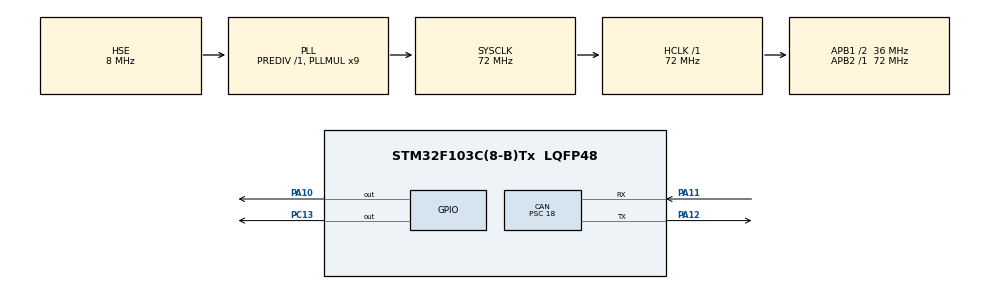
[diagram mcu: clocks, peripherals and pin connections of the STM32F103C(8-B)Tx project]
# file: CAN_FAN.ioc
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CAN.BS1=CAN_BS1_2TQ
CAN.CalculateBaudRate=500000
CAN.CalculateTimeBit=2000
CAN.CalculateTimeQuantum=500.0
CAN.Prescaler=18
Mcu.Family=STM32F1
Mcu.Name=STM32F103C(8-B)Tx
Mcu.Package=LQFP48
NVIC.CAN1_RX1_IRQn=true\:0\:0\:false\:false\:true\:true\:true\:true
NVIC.PriorityGroup=NVIC_PRIORITYGROUP_4
PA10.Signal=GPIO_Output
PA11.Mode=CAN_Activate
PA11.Signal=CAN_RX
PA12.Mode=CAN_Activate
PA12.Signal=CAN_TX
PA13.Mode=Serial_Wire
PA13.Signal=SYS_JTMS-SWDIO
PA14.Mode=Serial_Wire
PA14.Signal=SYS_JTCK-SWCLK
PC13-TAMPER-RTC.Signal=GPIO_Output
PD0-OSC_IN.Mode=HSE-External-Oscillator
PD0-OSC_IN.Signal=RCC_OSC_IN
PD1-OSC_OUT.Mode=HSE-External-Oscillator
PD1-OSC_OUT.Signal=RCC_OSC_OUT
ProjectManager.HeapSize=0x200
ProjectManager.StackSize=0x400
ProjectManager.TargetToolchain=MDK-ARM V5.32
RCC.AHBFreq_Value=72000000
RCC.APB1CLKDivider=RCC_HCLK_DIV2
RCC.APB1Freq_Value=36000000
RCC.APB1TimFreq_Value=72000000
RCC.APB2Freq_Value=72000000
RCC.APB2TimFreq_Value=72000000
RCC.HCLKFreq_Value=72000000
RCC.PLLMUL=RCC_PLL_MUL9
RCC.PLLSourceVirtual=RCC_PLLSOURCE_HSE
RCC.SYSCLKFreq_VALUE=72000000
RCC.SYSCLKSource=RCC_SYSCLKSOURCE_PLLCLK
RCC.USBFreq_Value=72000000
board=custom

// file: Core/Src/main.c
/* USER CODE BEGIN Header */
/**
  ******************************************************************************
  * @file           : main.c
  * @brief          : Main program body
  ******************************************************************************
  * @attention
  *
  * Copyright (c) 2023 STMicroelectronics.
  * All rights reserved.
  *
  * This software is licensed under terms that can be found in the LICENSE file
  * in the root directory of this software component.
  * If no LICENSE file comes with this software, it is provided AS-IS.
  *
  ******************************************************************************
  */
/* USER CODE END Header */
#include "main.h"

CAN_HandleTypeDef hcan;

void SystemClock_Config(void);
static void MX_GPIO_Init(void);
static void MX_CAN_Init(void);

/* USER CODE BEGIN 0 */
CAN_TxHeaderTypeDef TxHeader;
CAN_RxHeaderTypeDef RxHeader;

uint8_t TxData[8];
uint8_t RxData[8];

uint32_t TxMailbox;

int datacheck = 0;
int value_co2;
int limit_co2;

void HAL_CAN_RxFifo1MsgPendingCallback(CAN_HandleTypeDef *hcan)
{
	HAL_CAN_GetRxMessage(hcan, CAN_RX_FIFO1, &RxHeader, RxData);
	if (RxHeader.DLC == 4)
	{
		datacheck = 1;
	}
}
/* USER CODE END 0 */

int main(void)
{

  /* MCU Configuration--------------------------------------------------------*/

  /* Reset of all peripherals, Initializes the Flash interface and the Systick. */
  HAL_Init();

  /* Configure the system clock */
  SystemClock_Config();

  /* Initialize all configured peripherals */
  MX_GPIO_Init();
  MX_CAN_Init();
  /* USER CODE BEGIN 2 */
  HAL_CAN_Start(&hcan);
	  // Activate the notification
  HAL_CAN_ActivateNotification(&hcan, CAN_IT_RX_FIFO1_MSG_PENDING);

	TxHeader.DLC = 1;  // data length
  TxHeader.IDE = CAN_ID_STD;
  TxHeader.RTR = CAN_RTR_DATA;
  TxHeader.StdId = 0x104;  // ID

  TxData[0] = 0;  // ms delay
  /* USER CODE END 2 */

  /* Infinite loop */
  while (1)
  {

    /* USER CODE BEGIN 3 */
		HAL_GPIO_TogglePin(GPIOC, GPIO_PIN_13);
		HAL_Delay(500);
		if (datacheck)
	  {
		  // blink the LED
			datacheck = 0;
			value_co2 = RxData[0] << 8 | RxData[1];
			limit_co2 = RxData[2] << 8 | RxData[3];
			if(value_co2>limit_co2){
				HAL_GPIO_WritePin(GPIOA,GPIO_PIN_10, GPIO_PIN_SET);
				  TxData[0] = 1;
			}
			else{
				HAL_GPIO_WritePin(GPIOA,GPIO_PIN_10, GPIO_PIN_RESET);
				  TxData[0] = 0;
			}
		  HAL_CAN_AddTxMessage(&hcan, &TxHeader, TxData, &TxMailbox);

			HAL_GPIO_TogglePin(GPIOC, GPIO_PIN_13);
			HAL_Delay(200);
			HAL_GPIO_TogglePin(GPIOC, GPIO_PIN_13);
			HAL_Delay(200);
			HAL_GPIO_TogglePin(GPIOC, GPIO_PIN_13);
			HAL_Delay(200);

	  }

  }
  /* USER CODE END 3 */
}

void SystemClock_Config(void)
{
  RCC_OscInitTypeDef RCC_OscInitStruct = {0};
  RCC_ClkInitTypeDef RCC_ClkInitStruct = {0};

  /** Initializes the RCC Oscillators according to the specified parameters
  * in the RCC_OscInitTypeDef structure.
  */
  RCC_OscInitStruct.OscillatorType = RCC_OSCILLATORTYPE_HSE;
  RCC_OscInitStruct.HSEState = RCC_HSE_ON;
  RCC_OscInitStruct.HSEPredivValue = RCC_HSE_PREDIV_DIV1;
  RCC_OscInitStruct.HSIState = RCC_HSI_ON;
  RCC_OscInitStruct.PLL.PLLState = RCC_PLL_ON;
  RCC_OscInitStruct.PLL.PLLSource = RCC_PLLSOURCE_HSE;
  RCC_OscInitStruct.PLL.PLLMUL = RCC_PLL_MUL9;
  if (HAL_RCC_OscConfig(&RCC_OscInitStruct) != HAL_OK)
  {
    Error_Handler();
  }

  /** Initializes the CPU, AHB and APB buses clocks
  */
  RCC_ClkInitStruct.ClockType = RCC_CLOCKTYPE_HCLK|RCC_CLOCKTYPE_SYSCLK
                              |RCC_CLOCKTYPE_PCLK1|RCC_CLOCKTYPE_PCLK2;
  RCC_ClkInitStruct.SYSCLKSource = RCC_SYSCLKSOURCE_PLLCLK;
  RCC_ClkInitStruct.AHBCLKDivider = RCC_SYSCLK_DIV1;
  RCC_ClkInitStruct.APB1CLKDivider = RCC_HCLK_DIV2;
  RCC_ClkInitStruct.APB2CLKDivider = RCC_HCLK_DIV1;

  if (HAL_RCC_ClockConfig(&RCC_ClkInitStruct, FLASH_LATENCY_2) != HAL_OK)
  {
    Error_Handler();
  }
}

static void MX_CAN_Init(void)
{

  hcan.Instance = CAN1;
  hcan.Init.Prescaler = 18;
  hcan.Init.Mode = CAN_MODE_NORMAL;
  hcan.Init.SyncJumpWidth = CAN_SJW_1TQ;
  hcan.Init.TimeSeg1 = CAN_BS1_2TQ;
  hcan.Init.TimeSeg2 = CAN_BS2_1TQ;
  hcan.Init.TimeTriggeredMode = DISABLE;
  hcan.Init.AutoBusOff = DISABLE;
  hcan.Init.AutoWakeUp = DISABLE;
  hcan.Init.AutoRetransmission = DISABLE;
  hcan.Init.ReceiveFifoLocked = DISABLE;
  hcan.Init.TransmitFifoPriority = DISABLE;
  if (HAL_CAN_Init(&hcan) != HAL_OK)
  {
    Error_Handler();
  }
  /* USER CODE BEGIN CAN_Init 2 */
  CAN_FilterTypeDef canfilterconfig;

  canfilterconfig.FilterActivation = CAN_FILTER_ENABLE;
  canfilterconfig.FilterBank = 10;  // which filter bank to use from the assigned ones
  canfilterconfig.FilterFIFOAssignment = CAN_FILTER_FIFO1;
  canfilterconfig.FilterIdHigh = 0;
  canfilterconfig.FilterIdLow = 0;
  canfilterconfig.FilterMaskIdHigh = 0;
  canfilterconfig.FilterMaskIdLow = 0x0000;
  canfilterconfig.FilterMode = CAN_FILTERMODE_IDMASK;
  canfilterconfig.FilterScale = CAN_FILTERSCALE_32BIT;
  canfilterconfig.SlaveStartFilterBank = 0;  // doesn't matter in single can controllers

  HAL_CAN_ConfigFilter(&hcan, &canfilterconfig);
  /* USER CODE END CAN_Init 2 */

}

static void MX_GPIO_Init(void)
{
  GPIO_InitTypeDef GPIO_InitStruct = {0};

  /* GPIO Ports Clock Enable */
  __HAL_RCC_GPIOC_CLK_ENABLE();
  __HAL_RCC_GPIOD_CLK_ENABLE();
  __HAL_RCC_GPIOA_CLK_ENABLE();

  /*Configure GPIO pin Output Level */
  HAL_GPIO_WritePin(GPIOC, GPIO_PIN_13, GPIO_PIN_RESET);

  /*Configure GPIO pin Output Level */
  HAL_GPIO_WritePin(GPIOA, GPIO_PIN_10, GPIO_PIN_RESET);

  /*Configure GPIO pin : PC13 */
  GPIO_InitStruct.Pin = GPIO_PIN_13;
  GPIO_InitStruct.Mode = GPIO_MODE_OUTPUT_PP;
  GPIO_InitStruct.Pull = GPIO_NOPULL;
  GPIO_InitStruct.Speed = GPIO_SPEED_FREQ_LOW;
  HAL_GPIO_Init(GPIOC, &GPIO_InitStruct);

  /*Configure GPIO pin : PA10 */
  GPIO_InitStruct.Pin = GPIO_PIN_10;
  GPIO_InitStruct.Mode = GPIO_MODE_OUTPUT_PP;
  GPIO_InitStruct.Pull = GPIO_NOPULL;
  GPIO_InitStruct.Speed = GPIO_SPEED_FREQ_LOW;
  HAL_GPIO_Init(GPIOA, &GPIO_InitStruct);

}

void Error_Handler(void)
{
  __disable_irq();
  while (1)
  {
  }
}
